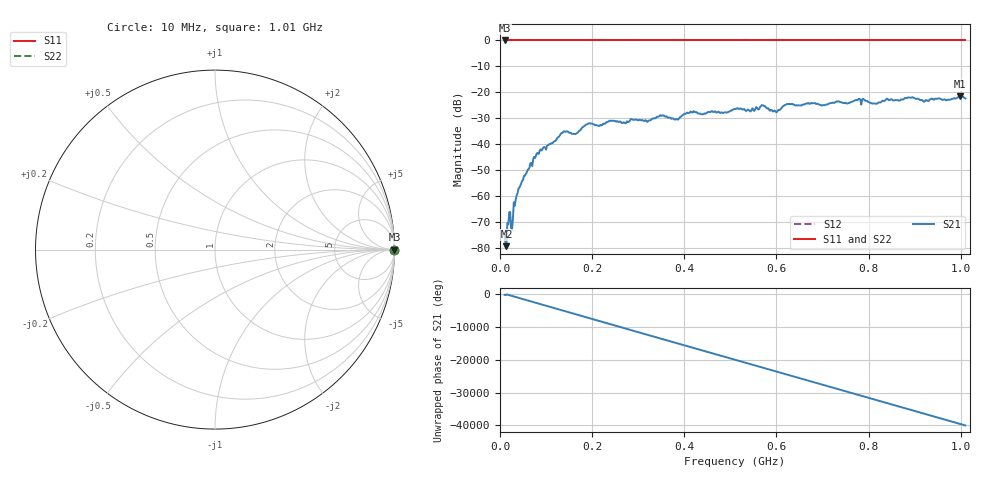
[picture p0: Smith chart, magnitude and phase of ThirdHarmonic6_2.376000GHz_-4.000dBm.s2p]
! 8/17/2025 3:45:01 AM
! C:\ANRITSUVNA\TEMP\TEMP.S2P
! CHANNEL.1
! TR.MEASUREMENT
! RAW.DATA
! RF.CORRECTION.OFF
! AVERAGING.OFF
! IF.BANDWIDTH: 5KHZ
! SWEEPTYPE:  FREQ.SWEEP(Linear)
! Reference Plane Port Info
! PORT:  PORT1  PORT2
! DISTANCE:  0  m  0  m
! TIME:  0  s  0  s
! PHASE.OFFSET:  0  deg.  0  deg.
! LOSS:  0  dB  0  dB
! REF.LOSS:  0  dB  0  dB
! REF.FREQ:  0  Hz  0  Hz
! Power Info
! POWER:  -20  dBm  -20  dBm
! EFF.POWER:  -20  dBm  -20  dBm
! SOURCE.ATTEN:  0  dB  0  dB
! TEST.ATTEN:  0  dB  0  dB
# GHZ S RI R 50.0
! FREQ.GHZ  S11RE  S11IM  S21RE  S21IM  S12RE  S12IM  S22RE  S22IM
!; PortSelection: Port_12
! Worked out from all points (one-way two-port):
!   501 points, 10 MHz to 1.01 GHz, reference 50 ohm
!   highest |S21| = -21.48 dB at 998 MHz (marker M1); lowest = -79.4 dB at 14 MHz (marker M2)
!   lowest |S11| = 0.0 dB at 10 MHz (marker M3)
!   |S11| at or under -10 dB: nowhere
!   |S22| runs from 0.0 to 0.0 dB; largest |S21 - S12| = 1.1
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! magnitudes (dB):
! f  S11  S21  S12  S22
! 10 MHz  0.0  -75.0  0.0  0.0
! 14 MHz  0.0  -79.4  0.0  0.0
! 20 MHz  0.0  -66.3  0.0  0.0
! 28 MHz  0.0  -68.7  0.0  0.0
! 34 MHz  0.0  -61.6  0.0  0.0
! 40 MHz  0.0  -57.3  0.0  0.0
! 76 MHz  0.0  -45.3  0.0  0.0
! 136 MHz  0.0  -35.6  0.0  0.0
! 162 MHz  0.0  -36.1  0.0  0.0
! 178 MHz  0.0  -33.7  0.0  0.0
! 344 MHz  0.0  -29.4  0.0  0.0
! 382 MHz  0.0  -30.4  0.0  0.0
! 416 MHz  0.0  -27.8  0.0  0.0
! 510 MHz  0.0  -26.4  0.0  0.0
! 572 MHz  0.0  -25.2  0.0  0.0
! 598 MHz  0.0  -27.4  0.0  0.0
! 624 MHz  0.0  -24.6  0.0  0.0
! 678 MHz  0.0  -24.2  0.0  0.0
! 814 MHz  0.0  -24.4  0.0  0.0
! 844 MHz  0.0  -23.1  0.0  0.0
! 998 MHz  0.0  -21.5  0.0  0.0
! 1.01 GHz  0.0  -22.4  0.0  0.0
